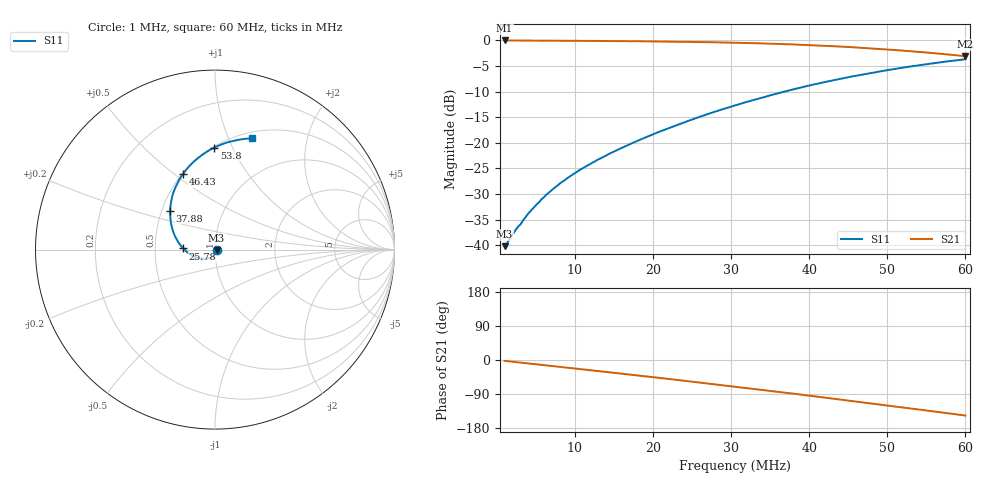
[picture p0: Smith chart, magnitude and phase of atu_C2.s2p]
! S11/S21 from S-A-A-2 VNA
! Written 2026-11-14 07:43:49 by the saav2 MCP server
! S12 and S22 were not measured (1.5-port VNA) and are written as 0
# HZ S RI R 50
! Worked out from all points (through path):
!   201 points, 1 MHz to 60 MHz, reference 50 ohm
!   highest |S21| = -0.02 dB at 1 MHz (marker M1); lowest = -3.1 dB at 60 MHz (marker M2)
!   group delay of S21, straight-line fit = 6.79 ns
!   lowest |S11| = -40.2 dB at 1 MHz (marker M3), VSWR 1.02, Z = 50.9 - j0.445 ohm
!   |S11| at or under -10 dB: start of sweep to 36.85 MHz
!   S12 and S22 are empty: the file has one direction only
!   S11 on the Smith chart (normalised r, x): 1 MHz: 1.02, -0.01; 25.78 MHz: 0.70, +0.01; 37.88 MHz: 0.55, +0.27; 46.43 MHz: 0.50, +0.54; 53.8 MHz: 0.51, +0.85; 60 MHz: 0.57, +1.22
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1000000  0.00878 -0.00437  0.9964 -0.0395  0 0  0 0
1295000  0.00869 -0.0058  0.9955 -0.0517  0 0  0 0
2475000  0.00787 -0.012  0.9905 -0.0976  0 0  0 0
3065000  0.00688 -0.0146  0.9877 -0.1199  0 0  0 0
3950000  0.00496 -0.0194  0.982 -0.1544  0 0  0 0
5720000  -0.0006 -0.0281  0.9679 -0.2212  0 0  0 0
8080000  -0.0118 -0.0384  0.9418 -0.3087  0 0  0 0
1.103e7  -0.0306 -0.0476  0.8973 -0.4145  0 0  0 0
1.28e7  -0.0445 -0.0509  0.8643 -0.475  0 0  0 0
1.516e7  -0.0654 -0.0517  0.8144 -0.5523  0 0  0 0
2.0765e7  -0.1231 -0.0349  0.6639 -0.7134  0 0  0 0
2.578e7  -0.177 0.00629  0.4972 -0.8248  0 0  0 0
3.05e7  -0.2207 0.0703  0.3196 -0.8922  0 0  0 0
3.4335e7  -0.2439 0.1403  0.1664 -0.9166  0 0  0 0
3.7875e7  -0.2499 0.217  0.0227 -0.9121  0 0  0 0
4.053e7  -0.2423 0.2799  -0.0834 -0.8915  0 0  0 0
4.348e7  -0.2186 0.3514  -0.1956 -0.8511  0 0  0 0
4.643e7  -0.1781 0.422  -0.2991 -0.7942  0 0  0 0
5.0265e7  -0.0999 0.5059  -0.4144 -0.6981  0 0  0 0
5.3805e7  -0.00423 0.5682  -0.4984 -0.593  0 0  0 0
5.705e7  0.1015 0.6059  -0.5534 -0.4867  0 0  0 0
6e7  0.2071 0.62  -0.584 -0.3863  0 0  0 0
